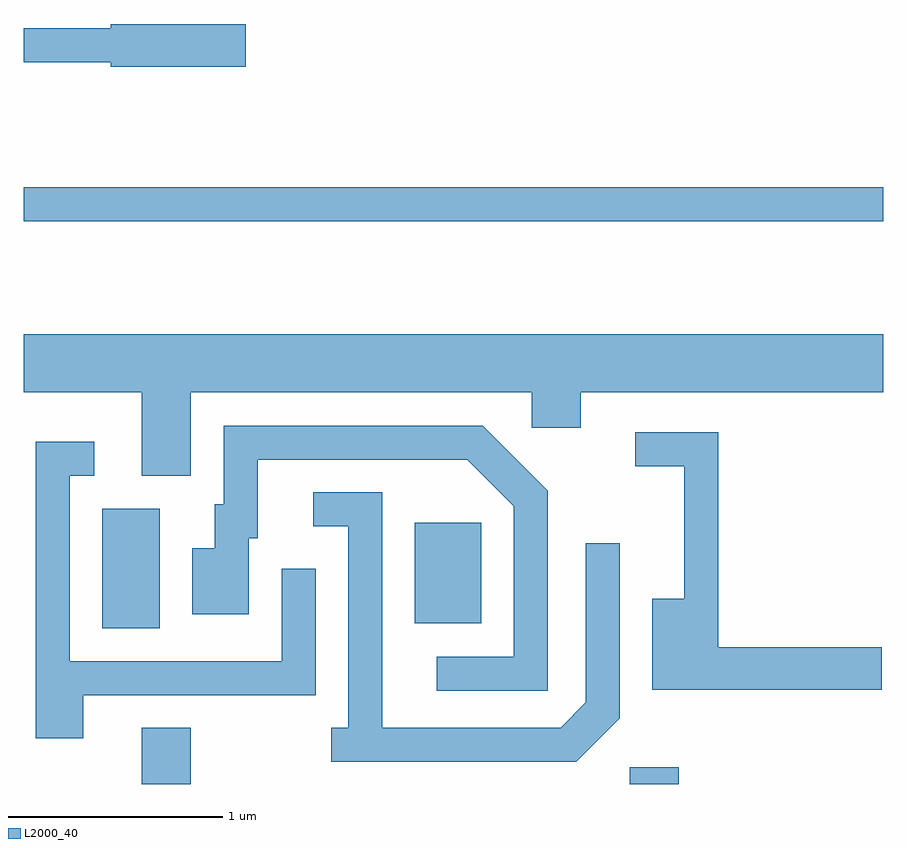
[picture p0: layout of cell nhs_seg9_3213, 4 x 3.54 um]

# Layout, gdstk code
import gdstk
lib = gdstk.Library(unit=1e-6, precision=1e-09)
def R(c, l, rs):  # rectangles x0, y0, x1, y1
    for r in rs: c.add(gdstk.rectangle(r[:2], r[2:], *l))
def P(c, l, *ps):  # polygons
    for p in ps: c.add(gdstk.Polygon(p, *l))
L2000_40 = (2000, 40)

nhs_seg9_3213 = lib.new_cell('nhs_seg9_3213')
R(nhs_seg9_3213, L2000_40, [(280.161,1994.432,280.389,1994.694), (282.431,1994.432,282.659,1994.509), (279.976,1995.156,280.244,1995.714), (281.431,1995.181,281.739,1995.649), (279.611,1997.051,283.611,1997.209)])
P(nhs_seg9_3213, L2000_40, [(280.644,1997.969),(280.016,1997.969),(280.016,1997.949),(279.611,1997.949),(279.611,1997.791),(280.016,1997.791),(280.016,1997.771),(280.644,1997.771)],
  [(280.389,1996.256),(281.976,1996.256),(281.976,1996.091),(282.204,1996.091),(282.204,1996.256),(283.611,1996.256),(283.611,1996.524),(279.611,1996.524),(279.611,1996.256),(280.161,1996.256),(280.161,1995.866),(280.389,1995.866)],
  [(282.049,1995.797),(281.747,1996.099),(280.541,1996.099),(280.541,1995.734),(280.501,1995.734),(280.501,1995.529),(280.396,1995.529),(280.396,1995.221),(280.659,1995.221),(280.659,1995.576),(280.699,1995.576),(280.699,1995.941),(281.674,1995.941),(281.891,1995.724),(281.891,1995.024),(281.533,1995.024),(281.533,1994.866),(282.049,1994.866)],
  [(283.604,1995.069),(282.844,1995.069),(282.844,1996.069),(282.458,1996.069),(282.458,1995.911),(282.686,1995.911),(282.686,1995.294),(282.536,1995.294),(282.536,1994.871),(283.604,1994.871)],
  [(279.889,1994.846),(280.969,1994.846),(280.969,1995.433),(280.811,1995.433),(280.811,1995.004),(279.824,1995.004),(279.824,1995.866),(279.938,1995.866),(279.938,1996.024),(279.666,1996.024),(279.666,1994.646),(279.889,1994.646)],
  [(282.384,1994.739),(282.384,1995.553),(282.226,1995.553),(282.226,1994.812),(282.109,1994.694),(281.279,1994.694),(281.279,1995.789),(280.958,1995.789),(280.958,1995.631),(281.121,1995.631),(281.121,1994.694),(281.043,1994.694),(281.043,1994.536),(282.182,1994.536)])

lib.write_gds('nhs_seg9_3213.gds')
